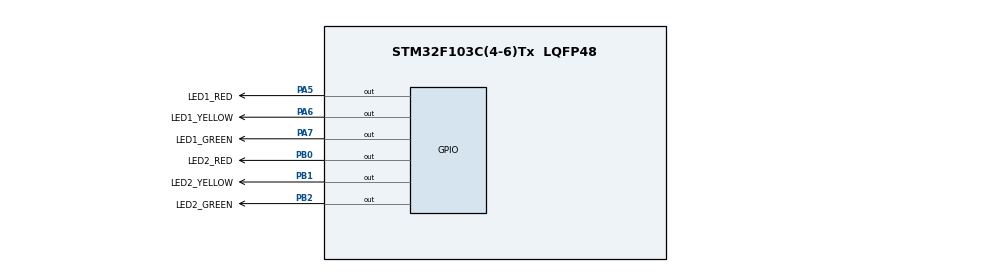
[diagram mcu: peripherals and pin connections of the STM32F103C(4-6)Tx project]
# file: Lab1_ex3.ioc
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Mcu.Family=STM32F1
Mcu.Name=STM32F103C(4-6)Tx
Mcu.Package=LQFP48
NVIC.PriorityGroup=NVIC_PRIORITYGROUP_4
PA5.GPIO_Label=LED1_RED
PA5.Signal=GPIO_Output
PA6.GPIO_Label=LED1_YELLOW
PA6.Signal=GPIO_Output
PA7.GPIO_Label=LED1_GREEN
PA7.Signal=GPIO_Output
PB0.GPIO_Label=LED2_RED
PB0.Signal=GPIO_Output
PB1.GPIO_Label=LED2_YELLOW
PB1.Signal=GPIO_Output
PB2.GPIO_Label=LED2_GREEN
PB2.Signal=GPIO_Output
ProjectManager.HeapSize=0x200
ProjectManager.StackSize=0x400
ProjectManager.TargetToolchain=STM32CubeIDE
RCC.APB1Freq_Value=8000000
RCC.APB2Freq_Value=8000000
board=custom

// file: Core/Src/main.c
/* USER CODE BEGIN Header */
/**
  ******************************************************************************
  * @file           : main.c
  * @brief          : Main program body
  ******************************************************************************
  * @attention
  *
  * Copyright (c) 2023 STMicroelectronics.
  * All rights reserved.
  *
  * This software is licensed under terms that can be found in the LICENSE file
  * in the root directory of this software component.
  * If no LICENSE file comes with this software, it is provided AS-IS.
  *
  ******************************************************************************
  */
/* USER CODE END Header */
#include "main.h"
#include "software_timer.h"

/* USER CODE BEGIN PV */
enum led_state {
	led1_red_led2_green,	// 3s
	led1_red_led2_yellow,	// 2s
	led1_green_led2_red,	// 3s
	led1_yellow_led2_red	// 2s
};
/* USER CODE END PV */

void SystemClock_Config(void);
static void MX_GPIO_Init(void);

int main(void)
{

  /* MCU Configuration--------------------------------------------------------*/

  /* Reset of all peripherals, Initializes the Flash interface and the Systick. */
  HAL_Init();

  /* Configure the system clock */
  SystemClock_Config();

  /* Initialize all configured peripherals */
  MX_GPIO_Init();

  /* Infinite loop */
  /* USER CODE BEGIN WHILE */

  enum led_state state;
  state = led1_yellow_led2_red;

  setTimer1(300);
  timer1_flag = 1;

  while (1)
  {
	  if (timer1_flag == 1) {
		  if (state == led1_red_led2_green) {
			  state = led1_red_led2_yellow;
		  } else if (state == led1_red_led2_yellow) {
			  state = led1_green_led2_red;
		  } else if (state == led1_green_led2_red){
			  state = led1_yellow_led2_red;
		  } else {
			  state = led1_red_led2_green;
		  }

		  if (state == led1_red_led2_green) {
			  setTimer1(300);
			  HAL_GPIO_WritePin(TRAFFIC_LED_1_PORT, LED1_YELLOW_Pin|LED1_GREEN_Pin, GPIO_PIN_RESET);
			  HAL_GPIO_WritePin(TRAFFIC_LED_1_PORT, LED1_RED_Pin, GPIO_PIN_SET);
			  HAL_GPIO_WritePin(TRAFFIC_LED_2_PORT, LED2_YELLOW_Pin|LED2_RED_Pin, GPIO_PIN_RESET);
			  HAL_GPIO_WritePin(TRAFFIC_LED_2_PORT, LED2_GREEN_Pin, GPIO_PIN_SET);
		  } else if (state == led1_red_led2_yellow) {
			  setTimer1(200);
			  HAL_GPIO_WritePin(TRAFFIC_LED_1_PORT, LED1_YELLOW_Pin|LED1_GREEN_Pin, GPIO_PIN_RESET);
			  HAL_GPIO_WritePin(TRAFFIC_LED_1_PORT, LED1_RED_Pin, GPIO_PIN_SET);
			  HAL_GPIO_WritePin(TRAFFIC_LED_2_PORT, LED2_GREEN_Pin|LED2_RED_Pin, GPIO_PIN_RESET);
			  HAL_GPIO_WritePin(TRAFFIC_LED_2_PORT, LED2_YELLOW_Pin, GPIO_PIN_SET);
		  } else if (state == led1_green_led2_red) {
			  setTimer1(300);
			  HAL_GPIO_WritePin(TRAFFIC_LED_1_PORT, LED1_RED_Pin|LED1_YELLOW_Pin, GPIO_PIN_RESET);
			  HAL_GPIO_WritePin(TRAFFIC_LED_1_PORT, LED1_GREEN_Pin, GPIO_PIN_SET);
			  HAL_GPIO_WritePin(TRAFFIC_LED_2_PORT, LED2_YELLOW_Pin|LED2_GREEN_Pin, GPIO_PIN_RESET);
			  HAL_GPIO_WritePin(TRAFFIC_LED_2_PORT, LED2_RED_Pin, GPIO_PIN_SET);
		  } else {
			  setTimer1(200);
			  HAL_GPIO_WritePin(TRAFFIC_LED_1_PORT, LED1_GREEN_Pin|LED1_RED_Pin, GPIO_PIN_RESET);
			  HAL_GPIO_WritePin(TRAFFIC_LED_1_PORT, LED1_YELLOW_Pin, GPIO_PIN_SET);
			  HAL_GPIO_WritePin(TRAFFIC_LED_2_PORT, LED2_YELLOW_Pin|LED2_GREEN_Pin, GPIO_PIN_RESET);
			  HAL_GPIO_WritePin(TRAFFIC_LED_2_PORT, LED2_RED_Pin, GPIO_PIN_SET);
		  }
	  }
	  timerRun();
	  HAL_Delay(10);

    /* USER CODE END WHILE */

  }
}

void SystemClock_Config(void)
{
  RCC_OscInitTypeDef RCC_OscInitStruct = {0};
  RCC_ClkInitTypeDef RCC_ClkInitStruct = {0};

  /** Initializes the RCC Oscillators according to the specified parameters
  * in the RCC_OscInitTypeDef structure.
  */
  RCC_OscInitStruct.OscillatorType = RCC_OSCILLATORTYPE_HSI;
  RCC_OscInitStruct.HSIState = RCC_HSI_ON;
  RCC_OscInitStruct.HSICalibrationValue = RCC_HSICALIBRATION_DEFAULT;
  RCC_OscInitStruct.PLL.PLLState = RCC_PLL_NONE;
  if (HAL_RCC_OscConfig(&RCC_OscInitStruct) != HAL_OK)
  {
    Error_Handler();
  }

  /** Initializes the CPU, AHB and APB buses clocks
  */
  RCC_ClkInitStruct.ClockType = RCC_CLOCKTYPE_HCLK|RCC_CLOCKTYPE_SYSCLK
                              |RCC_CLOCKTYPE_PCLK1|RCC_CLOCKTYPE_PCLK2;
  RCC_ClkInitStruct.SYSCLKSource = RCC_SYSCLKSOURCE_HSI;
  RCC_ClkInitStruct.AHBCLKDivider = RCC_SYSCLK_DIV1;
  RCC_ClkInitStruct.APB1CLKDivider = RCC_HCLK_DIV1;
  RCC_ClkInitStruct.APB2CLKDivider = RCC_HCLK_DIV1;

  if (HAL_RCC_ClockConfig(&RCC_ClkInitStruct, FLASH_LATENCY_0) != HAL_OK)
  {
    Error_Handler();
  }
}

static void MX_GPIO_Init(void)
{
  GPIO_InitTypeDef GPIO_InitStruct = {0};

  /* GPIO Ports Clock Enable */
  __HAL_RCC_GPIOA_CLK_ENABLE();
  __HAL_RCC_GPIOB_CLK_ENABLE();

  /*Configure GPIO pin Output Level */
  HAL_GPIO_WritePin(GPIOA, LED1_RED_Pin|LED1_YELLOW_Pin|LED1_GREEN_Pin, GPIO_PIN_RESET);

  /*Configure GPIO pin Output Level */
  HAL_GPIO_WritePin(GPIOB, LED2_RED_Pin|LED2_YELLOW_Pin|LED2_GREEN_Pin, GPIO_PIN_RESET);

  /*Configure GPIO pins : LED1_RED_Pin LED1_YELLOW_Pin LED1_GREEN_Pin */
  GPIO_InitStruct.Pin = LED1_RED_Pin|LED1_YELLOW_Pin|LED1_GREEN_Pin;
  GPIO_InitStruct.Mode = GPIO_MODE_OUTPUT_PP;
  GPIO_InitStruct.Pull = GPIO_NOPULL;
  GPIO_InitStruct.Speed = GPIO_SPEED_FREQ_LOW;
  HAL_GPIO_Init(GPIOA, &GPIO_InitStruct);

  /*Configure GPIO pins : LED2_RED_Pin LED2_YELLOW_Pin LED2_GREEN_Pin */
  GPIO_InitStruct.Pin = LED2_RED_Pin|LED2_YELLOW_Pin|LED2_GREEN_Pin;
  GPIO_InitStruct.Mode = GPIO_MODE_OUTPUT_PP;
  GPIO_InitStruct.Pull = GPIO_NOPULL;
  GPIO_InitStruct.Speed = GPIO_SPEED_FREQ_LOW;
  HAL_GPIO_Init(GPIOB, &GPIO_InitStruct);

}

void Error_Handler(void)
{
  __disable_irq();
  while (1)
  {
  }
}
